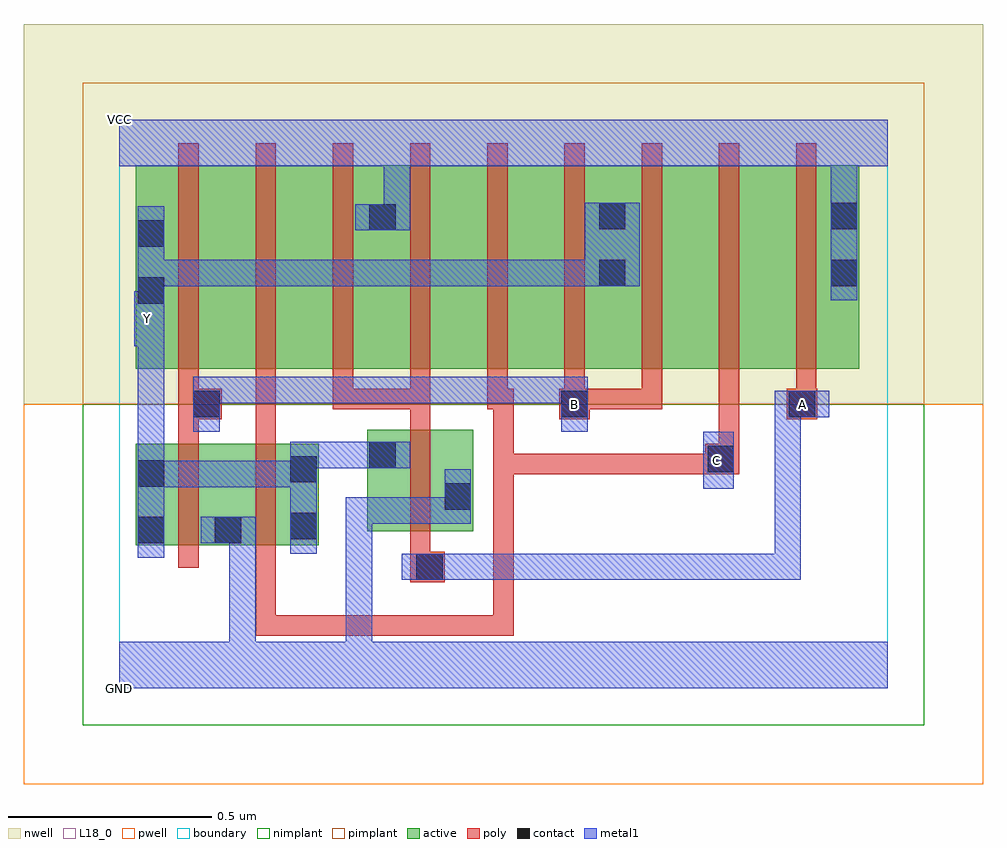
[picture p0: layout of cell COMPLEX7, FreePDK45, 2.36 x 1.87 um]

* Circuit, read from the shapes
.subckt COMPLEX7 A B C GND VCC Y
M1 GND B Y VSUBS nfet w=0.25u l=0.05u
M2 Y C GND VSUBS nfet w=0.25u l=0.05u
M3 GND A Y VSUBS nfet w=0.25u l=0.05u
M4 n1 B Y n2 pfet w=0.5u l=0.05u
M5 n3 C n1 n2 pfet w=0.5u l=0.05u
M6 VCC A n3 n2 pfet w=0.5u l=0.05u
M7 n4 A VCC n2 pfet w=0.5u l=0.05u
M8 n5 C n4 n2 pfet w=0.5u l=0.05u
M9 Y B n5 n2 pfet w=0.5u l=0.05u
M10 n6 B Y n2 pfet w=0.5u l=0.05u
M11 n7 C n6 n2 pfet w=0.5u l=0.05u
M12 VCC A n7 n2 pfet w=0.5u l=0.05u
.ends

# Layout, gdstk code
import gdstk
lib = gdstk.Library(unit=1e-6, precision=1e-09)
def R(c, l, rs):  # rectangles x0, y0, x1, y1
    for r in rs: c.add(gdstk.rectangle(r[:2], r[2:], *l))
def A(c, l, x, y, w, h, nx, ny, dx, dy):  # array of equal rectangles
    R(c, l, [(x+i*dx, y+j*dy, x+i*dx+w, y+j*dy+h) for i in range(nx) for j in range(ny)])
active = (1, 0)
pwell = (2, 0)
nwell = (3, 0)
nimplant = (4, 0)
pimplant = (5, 0)
poly = (9, 0)
contact = (10, 0)
metal1 = (11, 0)
L18_0 = (18, 0)
boundary = (235, 0)

complex7 = lib.new_cell('COMPLEX7')
A(complex7, active, 0.265, 0.787, 0.19, 0.5, 3, 1, 0.57, 0)
R(complex7, active, [(0.04,0.352,0.115,0.602), (0.04,0.352,0.305,0.602), (0.23,0.352,0.49,0.602), (0.23,0.352,0.305,0.497), (0.415,0.352,0.49,0.602), (0.61,0.387,0.87,0.637), (0.795,0.387,0.87,0.637), (0.61,0.395,0.685,0.637), (0.04,0.787,0.265,1.287), (0.04,0.787,0.145,1.2), (0.455,0.787,0.685,1.287), (0.61,0.787,0.835,1.287), (1.025,0.787,1.25,1.287), (1.175,0.787,1.405,1.287), (1.175,0.787,1.25,1.2), (1.595,0.787,1.82,1.287), (1.745,0.787,1.82,1.255), (0.61,0.807,0.685,1.255)])
R(complex7, pwell, [(-0.235,-0.235,2.125,0.7)])
R(complex7, nwell, [(-0.235,0.7,2.125,1.635)])
R(complex7, nimplant, [(-0.09,-0.09,1.98,0.7)])
R(complex7, pimplant, [(-0.09,0.7,1.98,1.49)])
A(complex7, poly, 0.525, 0.687, 0.05, 0.095, 5, 1, 0.19, 0)
A(complex7, poly, 0.145, 0.732, 0.05, 0.61, 9, 1, 0.19, 0)
R(complex7, poly, [(0.335,0.13,0.385,0.18), (0.335,0.13,0.385,0.18), (0.335,0.13,0.385,0.18), (0.335,0.13,0.385,0.18), (0.335,0.13,0.385,0.18), (0.335,0.13,0.632,0.18), (0.335,0.13,0.385,0.347), (0.582,0.13,0.632,0.18), (0.582,0.13,0.632,0.18), (0.582,0.13,0.632,0.18), (0.582,0.13,0.822,0.18), (0.772,0.13,0.822,0.18), (0.772,0.13,0.97,0.18), (0.92,0.13,0.97,0.18), (0.92,0.13,0.97,0.577), (0.715,0.262,0.8,0.337), (0.715,0.287,0.765,0.382), (0.145,0.297,0.195,0.657), (0.335,0.297,0.385,0.657), (0.715,0.332,0.765,0.692), (0.92,0.527,0.97,0.577), (0.92,0.527,0.97,0.577), (0.92,0.527,0.97,0.577), (0.92,0.527,0.97,0.577), (0.92,0.527,0.97,0.577), (0.92,0.527,1.102,0.577), (0.92,0.527,0.97,0.737), (1.052,0.527,1.102,0.577), (1.052,0.527,1.102,0.577), (1.052,0.527,1.102,0.577), (1.052,0.527,1.29,0.577), (1.24,0.527,1.29,0.577), (1.24,0.527,1.29,0.577), (1.24,0.527,1.29,0.577), (1.24,0.527,1.492,0.577), (1.442,0.527,1.492,0.577), (1.442,0.527,1.492,0.577), (1.442,0.527,1.492,0.577), (1.442,0.527,1.492,0.577), (1.442,0.527,1.492,0.577), (1.442,0.527,1.492,0.577), (1.442,0.527,1.525,0.602), (1.475,0.552,1.525,0.782), (0.145,0.607,0.195,0.712), (0.335,0.607,0.385,0.702), (0.715,0.642,0.765,0.737), (0.335,0.652,0.385,0.702), (0.335,0.652,0.385,0.782), (0.145,0.662,0.252,0.737), (1.082,0.662,1.157,0.737), (1.642,0.662,1.717,0.737), (0.145,0.687,0.195,0.782), (0.525,0.687,0.575,0.737), (0.525,0.687,0.575,0.737), (0.525,0.687,0.575,0.737), (0.525,0.687,0.765,0.737), (0.715,0.687,0.765,0.737), (0.905,0.687,0.97,0.737), (0.92,0.687,0.97,0.737), (0.92,0.687,0.97,0.737), (1.107,0.687,1.335,0.737), (1.285,0.687,1.335,0.737), (1.285,0.687,1.335,0.737), (1.285,0.687,1.335,0.737), (1.665,0.687,1.715,0.782)])
R(complex7, contact, [(0.73,0.267,0.795,0.332), (0.045,0.357,0.11,0.422), (0.235,0.357,0.3,0.422), (0.42,0.367,0.485,0.432), (0.8,0.44,0.865,0.505), (0.045,0.497,0.11,0.562), (0.42,0.507,0.485,0.572), (1.447,0.532,1.512,0.597), (0.615,0.542,0.68,0.607), (0.182,0.667,0.247,0.732), (1.087,0.667,1.152,0.732), (1.647,0.667,1.712,0.732), (0.045,0.947,0.11,1.012), (1.18,0.99,1.245,1.055), (1.75,0.99,1.815,1.055), (0.045,1.087,0.11,1.152), (0.615,1.127,0.68,1.192), (1.18,1.13,1.245,1.195), (1.75,1.13,1.815,1.195)])
R(complex7, metal1, [(0,0,1.89,0.115), (0.27,0.05,0.335,0.115), (0.27,0.05,0.335,0.115), (0.27,0.05,0.335,0.422), (0.557,0.05,0.622,0.115), (0.557,0.05,0.622,0.115), (0.557,0.05,0.622,0.47), (0.695,0.267,0.83,0.332), (0.765,0.267,0.83,0.332), (0.765,0.267,0.83,0.332), (0.765,0.267,1.015,0.332), (0.95,0.267,1.015,0.332), (0.95,0.267,1.015,0.332), (0.95,0.267,1.015,0.332), (0.95,0.267,1.015,0.332), (0.95,0.267,1.015,0.332), (0.95,0.267,1.015,0.332), (0.95,0.267,1.015,0.332), (0.95,0.267,1.152,0.332), (1.087,0.267,1.152,0.332), (1.087,0.267,1.365,0.332), (1.3,0.267,1.365,0.332), (1.3,0.267,1.365,0.332), (1.3,0.267,1.365,0.332), (1.3,0.267,1.502,0.332), (1.437,0.267,1.502,0.332), (1.437,0.267,1.502,0.332), (1.437,0.267,1.502,0.332), (1.437,0.267,1.677,0.332), (1.612,0.267,1.677,0.332), (1.612,0.267,1.677,0.732), (0.045,0.322,0.11,0.597), (0.42,0.332,0.485,0.607), (0.2,0.357,0.335,0.422), (0.27,0.357,0.335,0.422), (0.27,0.357,0.335,0.422), (0.27,0.357,0.335,0.422), (0.27,0.357,0.335,0.422), (0.557,0.405,0.622,0.47), (0.557,0.405,0.622,0.47), (0.557,0.405,0.622,0.47), (0.557,0.405,0.622,0.47), (0.557,0.405,0.622,0.47), (0.557,0.405,0.865,0.47), (0.8,0.405,0.865,0.47), (0.8,0.405,0.865,0.47), (0.8,0.405,0.865,0.54), (1.437,0.492,1.512,0.632), (0.045,0.495,0.247,0.56), (0.182,0.495,0.247,0.56), (0.182,0.495,0.247,0.56), (0.182,0.495,0.247,0.56), (0.182,0.495,0.485,0.56), (0.42,0.495,0.485,0.56), (0.42,0.495,0.485,0.56), (0.045,0.532,0.11,0.907), (0.42,0.542,0.622,0.607), (0.557,0.542,0.622,0.607), (0.557,0.542,0.645,0.607), (0.58,0.542,0.715,0.607), (0.182,0.632,0.247,0.767), (1.087,0.632,1.152,0.767), (1.612,0.667,1.677,0.732), (1.612,0.667,1.677,0.732), (1.612,0.667,1.747,0.732), (0.182,0.702,0.247,0.767), (0.182,0.702,0.247,0.767), (0.182,0.702,0.472,0.767), (0.407,0.702,0.472,0.767), (0.407,0.702,0.472,0.767), (0.407,0.702,0.472,0.767), (0.407,0.702,0.622,0.767), (0.557,0.702,0.622,0.767), (0.557,0.702,0.622,0.767), (0.557,0.702,0.622,0.767), (0.557,0.702,0.76,0.767), (0.695,0.702,0.76,0.767), (0.695,0.702,0.76,0.767), (0.695,0.702,0.76,0.767), (0.695,0.702,1.015,0.767), (0.95,0.702,1.015,0.767), (0.95,0.702,1.015,0.767), (0.95,0.702,1.015,0.767), (0.95,0.702,1.152,0.767), (0.037,0.842,0.11,0.977), (0.045,0.912,0.11,1.187), (0.045,0.912,0.11,0.977), (1.75,0.955,1.815,1.23), (0.045,0.99,0.247,1.055), (0.182,0.99,0.247,1.055), (0.182,0.99,0.247,1.055), (0.182,0.99,0.247,1.055), (0.182,0.99,0.485,1.055), (0.42,0.99,0.485,1.055), (0.42,0.99,0.485,1.055), (0.42,0.99,0.485,1.055), (0.42,0.99,0.622,1.055), (0.557,0.99,0.622,1.055), (0.557,0.99,0.622,1.055), (0.557,0.99,0.622,1.055), (0.557,0.99,0.76,1.055), (0.695,0.99,0.76,1.055), (0.695,0.99,0.76,1.055), (0.695,0.99,0.76,1.055), (0.695,0.99,1.015,1.055), (0.95,0.99,1.015,1.055), (0.95,0.99,1.015,1.055), (0.95,0.99,1.015,1.055), (0.95,0.99,1.21,1.055), (1.145,0.99,1.21,1.055), (1.145,0.99,1.21,1.055), (1.145,0.99,1.28,1.195), (0.58,1.127,0.715,1.192), (0.65,1.127,0.715,1.35), (1.75,1.165,1.815,1.35), (0,1.285,1.89,1.4)])
R(complex7, L18_0, [(0,0,1.89,0.115), (0.27,0.05,0.335,0.115), (0.27,0.05,0.335,0.115), (0.27,0.05,0.335,0.422), (0.557,0.05,0.622,0.115), (0.557,0.05,0.622,0.115), (0.557,0.05,0.622,0.47), (0.695,0.267,0.83,0.332), (0.765,0.267,0.83,0.332), (0.765,0.267,0.83,0.332), (0.765,0.267,1.015,0.332), (0.95,0.267,1.015,0.332), (0.95,0.267,1.015,0.332), (0.95,0.267,1.015,0.332), (0.95,0.267,1.015,0.332), (0.95,0.267,1.015,0.332), (0.95,0.267,1.015,0.332), (0.95,0.267,1.015,0.332), (0.95,0.267,1.152,0.332), (1.087,0.267,1.152,0.332), (1.087,0.267,1.365,0.332), (1.3,0.267,1.365,0.332), (1.3,0.267,1.365,0.332), (1.3,0.267,1.365,0.332), (1.3,0.267,1.502,0.332), (1.437,0.267,1.502,0.332), (1.437,0.267,1.502,0.332), (1.437,0.267,1.502,0.332), (1.437,0.267,1.677,0.332), (1.612,0.267,1.677,0.332), (1.612,0.267,1.677,0.732), (0.045,0.322,0.11,0.597), (0.42,0.332,0.485,0.607), (0.2,0.357,0.335,0.422), (0.27,0.357,0.335,0.422), (0.27,0.357,0.335,0.422), (0.27,0.357,0.335,0.422), (0.27,0.357,0.335,0.422), (0.557,0.405,0.622,0.47), (0.557,0.405,0.622,0.47), (0.557,0.405,0.622,0.47), (0.557,0.405,0.622,0.47), (0.557,0.405,0.622,0.47), (0.557,0.405,0.865,0.47), (0.8,0.405,0.865,0.47), (0.8,0.405,0.865,0.47), (0.8,0.405,0.865,0.54), (1.437,0.492,1.512,0.632), (0.045,0.495,0.247,0.56), (0.182,0.495,0.247,0.56), (0.182,0.495,0.247,0.56), (0.182,0.495,0.247,0.56), (0.182,0.495,0.485,0.56), (0.42,0.495,0.485,0.56), (0.42,0.495,0.485,0.56), (1.437,0.527,1.502,0.592), (0.045,0.532,0.11,0.907), (0.42,0.542,0.622,0.607), (0.557,0.542,0.622,0.607), (0.557,0.542,0.645,0.607), (0.58,0.542,0.715,0.607), (0.182,0.632,0.247,0.767), (1.087,0.632,1.152,0.767), (1.087,0.667,1.152,0.732), (1.612,0.667,1.677,0.732), (1.612,0.667,1.677,0.732), (1.612,0.667,1.747,0.732), (1.647,0.667,1.712,0.732), (0.182,0.702,0.247,0.767), (0.182,0.702,0.247,0.767), (0.182,0.702,0.472,0.767), (0.407,0.702,0.472,0.767), (0.407,0.702,0.472,0.767), (0.407,0.702,0.472,0.767), (0.407,0.702,0.622,0.767), (0.557,0.702,0.622,0.767), (0.557,0.702,0.622,0.767), (0.557,0.702,0.622,0.767), (0.557,0.702,0.76,0.767), (0.695,0.702,0.76,0.767), (0.695,0.702,0.76,0.767), (0.695,0.702,0.76,0.767), (0.695,0.702,1.015,0.767), (0.95,0.702,1.015,0.767), (0.95,0.702,1.015,0.767), (0.95,0.702,1.015,0.767), (0.95,0.702,1.152,0.767), (0.037,0.842,0.11,0.977), (0.037,0.877,0.102,0.942), (0.045,0.912,0.11,1.187), (0.045,0.912,0.11,0.977), (1.75,0.955,1.815,1.23), (0.045,0.99,0.247,1.055), (0.182,0.99,0.247,1.055), (0.182,0.99,0.247,1.055), (0.182,0.99,0.247,1.055), (0.182,0.99,0.485,1.055), (0.42,0.99,0.485,1.055), (0.42,0.99,0.485,1.055), (0.42,0.99,0.485,1.055), (0.42,0.99,0.622,1.055), (0.557,0.99,0.622,1.055), (0.557,0.99,0.622,1.055), (0.557,0.99,0.622,1.055), (0.557,0.99,0.76,1.055), (0.695,0.99,0.76,1.055), (0.695,0.99,0.76,1.055), (0.695,0.99,0.76,1.055), (0.695,0.99,1.015,1.055), (0.95,0.99,1.015,1.055), (0.95,0.99,1.015,1.055), (0.95,0.99,1.015,1.055), (0.95,0.99,1.21,1.055), (1.145,0.99,1.21,1.055), (1.145,0.99,1.21,1.055), (1.145,0.99,1.28,1.195), (0.58,1.127,0.715,1.192), (0.65,1.127,0.715,1.35), (1.75,1.165,1.815,1.35), (0,1.285,1.89,1.4)])
R(complex7, boundary, [(0,0,1.89,1.4)])
complex7.add(gdstk.Label('A', (1.68,0.7), layer=11, texttype=0))
complex7.add(gdstk.Label('B', (1.12,0.7), layer=11, texttype=0))
complex7.add(gdstk.Label('C', (1.47,0.56), layer=11, texttype=0))
complex7.add(gdstk.Label('Y', (0.07,0.91), layer=11, texttype=0))
complex7.add(gdstk.Label('VCC', (0,1.4), layer=11, texttype=0))
complex7.add(gdstk.Label('GND', (0,0), layer=11, texttype=0))

lib.write_gds('COMPLEX7.gds')
